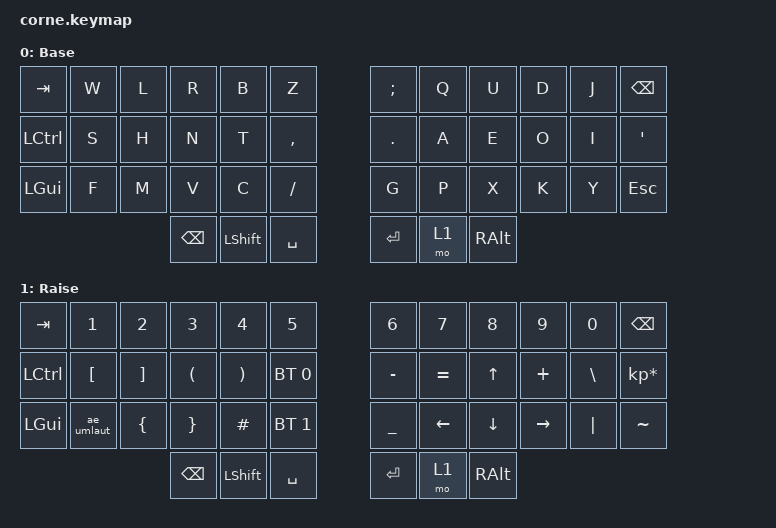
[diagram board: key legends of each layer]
/*
 * Copyright (c) 2020 The ZMK Contributors
 *
 * SPDX-License-Identifier: MIT
 */

#include <behaviors.dtsi>
#include <dt-bindings/zmk/bt.h>
#include <dt-bindings/zmk/keys.h>

/ {
    macros {
        ae_umlaut: ae_umlaut {
            compatible = "zmk,behavior-macro";
            label = "AE_UMLAUT";
            #binding-cells = <0>;
            bindings = <&kp KP_NUMLOCK &kp RIGHT_ALT &kp N0 &kp N2 &kp N2 &kp N8>;
        };
    };

    keymap {
        compatible = "zmk,keymap";

        default_layer {
            // -----------------------------------------------------------------------------------------
            // |  TAB |  Q  |  W  |  E  |  R  |  T  |   |  Y  |  U   |  I  |  O  |  P  | BKSP |
            // | CTRL |  A  |  S  |  D  |  F  |  G  |   |  H  |  J   |  K  |  L  |  ;  |  '   |
            // | SHFT |  Z  |  X  |  C  |  V  |  B  |   |  N  |  M   |  ,  |  .  |  /  | ESC  |
            //                    | GUI | LWR | SPC |   | ENT | RSE  | ALT |

            label = "Base";
            bindings = <
&kp TAB    &kp W  &kp L  &kp R          &kp B       &kp Z        &kp SEMICOLON  &kp Q  &kp U     &kp D  &kp J  &kp BSPC
&kp LCTRL  &kp S  &kp H  &kp N          &kp T       &kp COMMA    &kp PERIOD     &kp A  &kp E     &kp O  &kp I  &kp SQT
&kp LGUI   &kp F  &kp M  &kp V          &kp C       &kp SLASH    &kp G          &kp P  &kp X     &kp K  &kp Y  &kp ESC
                         &kp BACKSPACE  &kp LSHIFT  &kp SPACE    &kp RET        &mo 1  &kp RALT
            >;
        };

        raise_layer {
            // -----------------------------------------------------------------------------------------
            // |  TAB |  !  |  @  |  #  |  $  |  %  |   |  ^  |  &  |  *  |  (  |  )  | BKSP |
            // | CTRL |     |     |     |     |     |   |  -  |  =  |  [  |  ]  |  \  |  `   |
            // | SHFT |     |     |     |     |     |   |  _  |  +  |  {  |  }  | "|" |  ~   |
            //                    | GUI |     | SPC |   | ENT |     | ALT |

            label = "Raise";
            bindings = <
&kp TAB    &kp NUMBER_1      &kp NUMBER_2  &kp NUMBER_3          &kp NUMBER_4           &kp NUMBER_5    &kp NUMBER_6  &kp NUMBER_7    &kp NUMBER_8    &kp NUMBER_9     &kp NUMBER_0  &kp BSPC
&kp LCTRL  &kp LEFT_BRACKET  &kp RBKT      &kp LEFT_PARENTHESIS  &kp RIGHT_PARENTHESIS  &bt BT_SEL 0    &kp MINUS     &kp EQUAL       &kp UP_ARROW    &kp PLUS         &kp BSLH      &kp KP_MULTIPLY
&kp LGUI   &ae_umlaut        &kp LBRC      &kp RBRC              &kp HASH               &bt BT_SEL 1    &kp UNDER     &kp LEFT_ARROW  &kp DOWN_ARROW  &kp RIGHT_ARROW  &kp PIPE      &kp TILDE
                                           &kp BACKSPACE         &kp LSHIFT             &kp SPACE       &kp RET       &mo 1           &kp RALT
            >;
        };
    };
};
